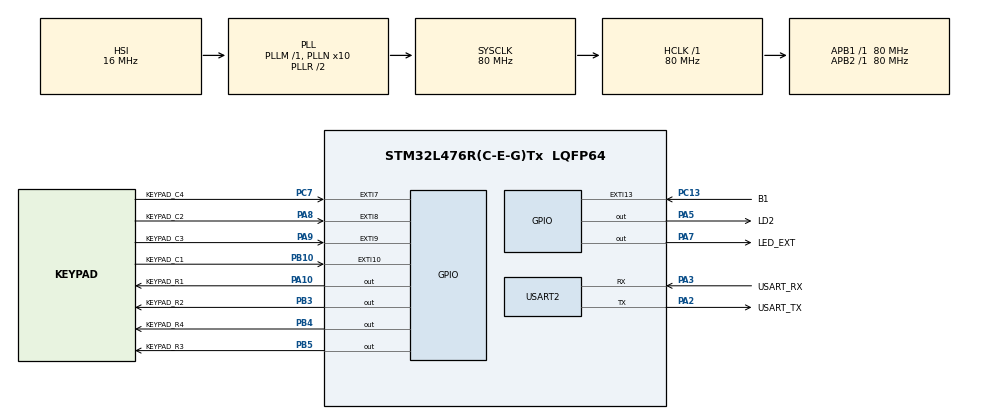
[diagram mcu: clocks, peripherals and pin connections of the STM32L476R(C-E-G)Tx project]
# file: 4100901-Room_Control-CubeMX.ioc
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Mcu.Family=STM32L4
Mcu.Name=STM32L476R(C-E-G)Tx
Mcu.Package=LQFP64
NVIC.EXTI15_10_IRQn=true\:0\:0\:false\:false\:true\:true\:true\:true
NVIC.EXTI9_5_IRQn=true\:0\:0\:false\:false\:true\:true\:true\:true
NVIC.PriorityGroup=NVIC_PRIORITYGROUP_4
NVIC.USART2_IRQn=true\:0\:0\:false\:false\:true\:true\:true\:true
PA10.GPIO_Label=KEYPAD_R1
PA10.Signal=GPIO_Output
PA13\ (JTMS-SWDIO).GPIO_Label=TMS
PA13\ (JTMS-SWDIO).Mode=Serial_Wire
PA13\ (JTMS-SWDIO).Signal=SYS_JTMS-SWDIO
PA14\ (JTCK-SWCLK).GPIO_Label=TCK
PA14\ (JTCK-SWCLK).Mode=Serial_Wire
PA14\ (JTCK-SWCLK).Signal=SYS_JTCK-SWCLK
PA2.GPIO_Label=USART_TX
PA2.GPIO_Mode=GPIO_MODE_AF_PP
PA2.GPIO_PuPd=GPIO_NOPULL
PA2.GPIO_Speed=GPIO_SPEED_FREQ_VERY_HIGH
PA2.Mode=Asynchronous
PA2.Signal=USART2_TX
PA3.GPIO_Label=USART_RX
PA3.GPIO_Mode=GPIO_MODE_AF_PP
PA3.GPIO_PuPd=GPIO_NOPULL
PA3.GPIO_Speed=GPIO_SPEED_FREQ_VERY_HIGH
PA3.Mode=Asynchronous
PA3.Signal=USART2_RX
PA5.GPIO_Label=LD2
PA5.GPIO_ModeDefaultOutputPP=GPIO_MODE_OUTPUT_PP
PA5.GPIO_PuPd=GPIO_NOPULL
PA5.GPIO_Speed=GPIO_SPEED_FREQ_LOW
PA5.Signal=GPIO_Output
PA7.GPIO_Label=LED_EXT
PA7.Signal=GPIO_Output
PA8.GPIO_Label=KEYPAD_C2
PA8.GPIO_ModeDefaultEXTI=GPIO_MODE_IT_FALLING
PA8.GPIO_PuPd=GPIO_PULLUP
PA8.Signal=GPXTI8
PA9.GPIO_Label=KEYPAD_C3
PA9.GPIO_ModeDefaultEXTI=GPIO_MODE_IT_FALLING
PA9.GPIO_PuPd=GPIO_PULLUP
PA9.Signal=GPXTI9
PB10.GPIO_Label=KEYPAD_C1
PB10.GPIO_ModeDefaultEXTI=GPIO_MODE_IT_FALLING
PB10.GPIO_PuPd=GPIO_PULLUP
PB10.Signal=GPXTI10
PB3\ (JTDO-TRACESWO).GPIO_Label=KEYPAD_R2
PB3\ (JTDO-TRACESWO).Signal=GPIO_Output
PB4\ (NJTRST).GPIO_Label=KEYPAD_R4
PB4\ (NJTRST).Signal=GPIO_Output
PB5.GPIO_Label=KEYPAD_R3
PB5.Signal=GPIO_Output
PC13.GPIO_Label=B1
PC13.GPIO_ModeDefaultEXTI=GPIO_MODE_IT_FALLING
PC13.GPIO_PuPd=GPIO_NOPULL
PC13.Signal=GPXTI13
PC14-OSC32_IN\ (PC14).Mode=LSE-External-Oscillator
PC14-OSC32_IN\ (PC14).Signal=RCC_OSC32_IN
PC15-OSC32_OUT\ (PC15).Mode=LSE-External-Oscillator
PC15-OSC32_OUT\ (PC15).Signal=RCC_OSC32_OUT
PC7.GPIO_Label=KEYPAD_C4
PC7.GPIO_ModeDefaultEXTI=GPIO_MODE_IT_FALLING
PC7.GPIO_PuPd=GPIO_PULLUP
PC7.Signal=GPXTI7
PH0-OSC_IN\ (PH0).Signal=RCC_OSC_IN
PH1-OSC_OUT\ (PH1).Signal=RCC_OSC_OUT
ProjectManager.HeapSize=0x200
ProjectManager.StackSize=0x400
ProjectManager.TargetToolchain=CMake
RCC.ADCFreq_Value=64000000
RCC.AHBFreq_Value=80000000
RCC.APB1Freq_Value=80000000
RCC.APB1TimFreq_Value=80000000
RCC.APB2Freq_Value=80000000
RCC.APB2TimFreq_Value=80000000
RCC.CortexFreq_Value=80000000
RCC.HCLKFreq_Value=80000000
RCC.HSE_VALUE=8000000
RCC.HSI_VALUE=16000000
RCC.MSI_VALUE=4000000
RCC.PLLN=10
RCC.PLLSourceVirtual=RCC_PLLSOURCE_HSI
RCC.PREFETCH_ENABLE=1
RCC.SYSCLKFreq_VALUE=80000000
RCC.SYSCLKSource=RCC_SYSCLKSOURCE_PLLCLK
RCC.USBFreq_Value=64000000
RCC.VCOOutputFreq_Value=160000000
USART2.VirtualMode-Asynchronous=VM_ASYNC
board=NUCLEO-L476RG

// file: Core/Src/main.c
/* USER CODE BEGIN Header */
/**
 **********
 * @file           : main.c
 * @brief          : Main program body
 **********
 * @attention
 *
 * Copyright (c) 2025 STMicroelectronics.
 * All rights reserved.
 *
 * This software is licensed under terms that can be found in the LICENSE file
 * in the root directory of this software component.
 * If no LICENSE file comes with this software, it is provided AS-IS.
 *
 **********
 */
/* USER CODE END Header */
#include "main.h"

/* USER CODE BEGIN Includes */
#include "led_driver.h"    // Librería para controlar el LED
#include "ring_buffer.h"   // Librería para manejar un buffer circular
#include "keypad_driver.h" // Librería del teclado matricial (4x4)
#include <stdio.h>         // Para usar printf() y enviar mensajes por UART
#include <string.h>        // Para comparar cadenas y limpiar variables
/* USER CODE END Includes */

/* USER CODE BEGIN PD */
// --- CONFIGURACION DEL SISTEMA ---
/* USER CODE END PD */
#define PASSWORD "123A"          // Contraseña de 4 dígitos que el usuario debe ingresar
#define PASSWORD_LEN 4           // Longitud de la contraseña
#define DEBOUNCE_TIME_MS 200     // Tiempo mínimo entre pulsaciones para evitar rebotes
#define SUCCESS_LED_TIME_MS 4000 // Tiempo que el LED permanece encendido al ingresar la contraseña correcta

UART_HandleTypeDef huart2; // Estructura que guarda toda la configuración y el estado del puerto UART2 (comunicación serial)

/* USER CODE BEGIN PV */
// --- HANDLES Y BUFFERS ---
led_handle_t led1 = {.port = GPIOA, .pin = GPIO_PIN_5}; // LED del usuario (LD2) en el pin PA5

// Estructura que define los pines usados por el teclado matricial 4x4

// --- CONFIGURACIÓN DE HARDWARE DEL TECLADO 4x4 ---
// Filas:
//   R1 → PA10 (GPIOA pin 10)
//   R2 → PB3  (GPIOB pin 3)
//   R3 → PB5  (GPIOB pin 5)
//   R4 → PB4  (GPIOB pin 4)
// Columnas:
//   C1 → PB10 (GPIOB pin 10) - Entrada con interrupción EXTI
//   C2 → PA8  (GPIOA pin 8)  - Entrada con interrupción EXTI
//   C3 → PA9  (GPIOA pin 9)  - Entrada con interrupción EXTI
//   C4 → PC7  (GPIOC pin 7)  - Entrada con interrupción EXTI

keypad_handle_t keypad = {
    .row_ports = {KEYPAD_R1_GPIO_Port, KEYPAD_R2_GPIO_Port, KEYPAD_R3_GPIO_Port, KEYPAD_R4_GPIO_Port},
    .row_pins = {KEYPAD_R1_Pin, KEYPAD_R2_Pin, KEYPAD_R3_Pin, KEYPAD_R4_Pin},
    .col_ports = {KEYPAD_C1_GPIO_Port, KEYPAD_C2_GPIO_Port, KEYPAD_C3_GPIO_Port, KEYPAD_C4_GPIO_Port},
    .col_pins = {KEYPAD_C1_Pin, KEYPAD_C2_Pin, KEYPAD_C3_Pin, KEYPAD_C4_Pin}};

// --- BUFFER CIRCULAR PARA TECLAS ---
#define KEYPAD_BUFFER_LEN 16              // Tamaño máximo del buffer de teclas
uint8_t keypad_buffer[KEYPAD_BUFFER_LEN]; // Arreglo donde se almacenan las teclas presionadas
ring_buffer_t keypad_rb;                  // Estructura de control del buffer circular

// --- VARIABLES DE CONTROL DE ACCESO ---
char entered_password[PASSWORD_LEN + 1] = {0}; // Arreglo para guardar los dígitos ingresados
uint8_t password_index = 0;                    // Índice que indica cuántos dígitos se han ingresado

// --- VARIABLES DE ESTADO PARA LÓGICA NO BLOQUEANTE ---
uint32_t last_key_press_time = 0; // Guarda el tiempo del último dígito leído (para evitar rebotes)
uint32_t led_timer_start = 0;     // Momento en el que el LED fue encendido
uint32_t led_on_duration = 0;     // Tiempo que el LED debe permanecer encendido
/* USER CODE END PV */

// --- Prototipos de funciones internas ---
void SystemClock_Config(void);         // Configura la frecuencia y el reloj principal del microcontrolador
static void MX_GPIO_Init(void);        // Configura los pines GPIO (entradas, salidas e interrupciones)
static void MX_USART2_UART_Init(void); // Inicializa la UART2 para comunicación serial

/* USER CODE BEGIN PFP */
// --- FUNCIONES PERSONALIZADAS ---
// void process_key(uint8_t key); // (No usada en este código) - sería para procesar teclas recibidas
void manage_led_timer(void); // Controla el tiempo de encendido del LED (sin bloquear el programa)
/* USER CODE END PFP */

/* USER CODE BEGIN 0 */
/**
 * @brief  Callback de la interrupción externa GPIO.
 * @note   Esta función se llama cuando se detecta un flanco en un pin configurado para interrupción.
 *         Se mantiene muy rápida: solo lee el teclado y guarda la tecla en un buffer.
 */
void HAL_GPIO_EXTI_Callback(uint16_t GPIO_Pin)
{
  char key = keypad_scan(&keypad, GPIO_Pin); // Escanea el teclado para identificar qué tecla se presionó
  if (key != '\0')                           // Si se detectó una tecla válida
  {
    ring_buffer_write(&keypad_rb, (uint8_t)key); // Guarda la tecla en el buffer circular
  }
}

/**
 * @brief Procesa una tecla recibida del buffer del keypad.
 * @note  Contiene la lógica principal de la aplicación: feedback visual,
 *        almacenamiento de la contraseña y verificación.
 * @param key La tecla presionada a procesar.
 */
void lectura_de_clave(uint8_t llave)
{
  // --- Almacenar dígito presionado ---
  if (password_index < PASSWORD_LEN) // Si aún no se ingresaron las 4 teclas
  {
    entered_password[password_index++] = (char)llave; // Guarda el carácter en el arreglo
    printf("Digito presionado: %c\r\n", llave);       // Muestra por UART la tecla presionada
  }

  // --- Verificar contraseña cuando se ingresan los 4 dígitos ---
  if (password_index == PASSWORD_LEN)
  {
    if (strncmp(entered_password, PASSWORD, PASSWORD_LEN) == 0) // Compara con la contraseña correcta
    {
      printf("Contraseña correcta. ACCESO AUTORIZADO.\r\n"); // Mensaje de éxito
      // Encender LED por éxito de contraseña
      led_on(&led1);                         // Enciende el LED
      led_timer_start = HAL_GetTick();       // Guarda el momento de encendido
      led_on_duration = SUCCESS_LED_TIME_MS; // Mantener encendido 4 segundos
    }
    else
    {
      printf("Contraseña incorrecta. ACCESO DENEGADO.\r\n"); // Mensaje de error
      led_off(&led1);                                        // Asegura que el LED quede apagado si la clave es incorrecta
    }

    // --- Reiniciar para una nueva entrada ---
    password_index = 0;                                    // Reinicia el contador
    memset(entered_password, 0, sizeof(entered_password)); // Limpia la clave ingresada
    printf("\nSistema de acceso listo. Ingrese la contraseña de 4 digitos.\r\n");
  }
}

/**
 * @brief Gestiona el apagado automático del LED sin bloquear el programa.
 * @note  Esta función debe ser llamada repetidamente en el bucle principal.
 */

void manage_led_timer(void)
{
  // Si el LED está encendido y ya pasó el tiempo programado
  if (led_timer_start != 0 && (HAL_GetTick() - led_timer_start > led_on_duration))
  {
    led_off(&led1);      // Apaga el LED
    led_timer_start = 0; // Reinicia el temporizador
  }
}

/* USER CODE END 0 */

int main(void)
{

  /* MCU Configuration--------------------------------------------------------*/

  /* Reset of all peripherals, Initializes the Flash interface and the Systick. */
  HAL_Init();

  /* Configure the system clock */
  SystemClock_Config();

  // Inicializa todos los periféricos configurados (GPIO, UART, etc.)
  MX_GPIO_Init();
  MX_USART2_UART_Init();

  /* USER CODE BEGIN 2 */
  // --- Inicialización de drivers personalizados ---
  led_init(&led1);                                                // Inicializa el LED conectado a PA5 (LD2)
  ring_buffer_init(&keypad_rb, keypad_buffer, KEYPAD_BUFFER_LEN); // Inicializa el buffer circular para almacenar teclas
  keypad_init(&keypad);                                           // Coloca todas las filas del teclado en bajo

  printf("Sistema de Control de Acceso Iniciado.\r\n"); // Mensaje inicial por UART
  printf("Ingrese la contraseña de 4 dígitos...\r\n");  // Solicitud al usuario
                                                        /* USER CODE END 2 */

  /* Infinite loop */
  /* USER CODE BEGIN WHILE */
  while (1) // --- Bucle principal del programa ---
  {
    uint8_t key_from_buffer; // Variable para guardar la tecla leída desde el buffer

    // --- Lectura no bloqueante del teclado ---
    if (ring_buffer_read(&keypad_rb, &key_from_buffer)) // Si hay una tecla disponible en el buffer
    {
      uint32_t now = HAL_GetTick(); // Obtiene el tiempo actual en milisegundos

      // --- Control de rebote por software ---
      if (now - last_key_press_time > DEBOUNCE_TIME_MS) // Si ha pasado suficiente tiempo desde la última tecla
      {
        last_key_press_time = now;         // Actualiza el tiempo de la última pulsación
        lectura_de_clave(key_from_buffer); // Procesa la tecla (guarda y valida contraseña)
      }
    }

    // --- Control del LED sin bloquear el programa ---
    manage_led_timer(); // Apaga el LED automáticamente cuando pasa el tiempo definido

    /* USER CODE END WHILE */

    /* USER CODE BEGIN 3 */
    // El bucle continúa ejecutándose indefinidamente
  }
  /* USER CODE END 3 */
}
/* ---------------------- FUNCIONES DE HARDWARE ---------------------- */

void SystemClock_Config(void)
{
  RCC_OscInitTypeDef RCC_OscInitStruct = {0};
  RCC_ClkInitTypeDef RCC_ClkInitStruct = {0};

  /** Configure the main internal regulator output voltage
   */
  if (HAL_PWREx_ControlVoltageScaling(PWR_REGULATOR_VOLTAGE_SCALE1) != HAL_OK)
  {
    Error_Handler();
  }

  /** Initializes the RCC Oscillators according to the specified parameters
   * in the RCC_OscInitTypeDef structure.
   */
  RCC_OscInitStruct.OscillatorType = RCC_OSCILLATORTYPE_HSI;
  RCC_OscInitStruct.HSIState = RCC_HSI_ON;
  RCC_OscInitStruct.HSICalibrationValue = RCC_HSICALIBRATION_DEFAULT;
  RCC_OscInitStruct.PLL.PLLState = RCC_PLL_ON;
  RCC_OscInitStruct.PLL.PLLSource = RCC_PLLSOURCE_HSI;
  RCC_OscInitStruct.PLL.PLLM = 1;
  RCC_OscInitStruct.PLL.PLLN = 10;
  RCC_OscInitStruct.PLL.PLLP = RCC_PLLP_DIV7;
  RCC_OscInitStruct.PLL.PLLQ = RCC_PLLQ_DIV2;
  RCC_OscInitStruct.PLL.PLLR = RCC_PLLR_DIV2;
  if (HAL_RCC_OscConfig(&RCC_OscInitStruct) != HAL_OK)
  {
    Error_Handler();
  }

  /** Initializes the CPU, AHB and APB buses clocks
   */
  RCC_ClkInitStruct.ClockType = RCC_CLOCKTYPE_HCLK | RCC_CLOCKTYPE_SYSCLK | RCC_CLOCKTYPE_PCLK1 | RCC_CLOCKTYPE_PCLK2;
  RCC_ClkInitStruct.SYSCLKSource = RCC_SYSCLKSOURCE_PLLCLK;
  RCC_ClkInitStruct.AHBCLKDivider = RCC_SYSCLK_DIV1;
  RCC_ClkInitStruct.APB1CLKDivider = RCC_HCLK_DIV1;
  RCC_ClkInitStruct.APB2CLKDivider = RCC_HCLK_DIV1;

  if (HAL_RCC_ClockConfig(&RCC_ClkInitStruct, FLASH_LATENCY_4) != HAL_OK)
  {
    Error_Handler();
  }
}

static void MX_USART2_UART_Init(void)
{

  huart2.Instance = USART2;
  huart2.Init.BaudRate = 115200;
  huart2.Init.WordLength = UART_WORDLENGTH_8B;
  huart2.Init.StopBits = UART_STOPBITS_1;
  huart2.Init.Parity = UART_PARITY_NONE;
  huart2.Init.Mode = UART_MODE_TX_RX;
  huart2.Init.HwFlowCtl = UART_HWCONTROL_NONE;
  huart2.Init.OverSampling = UART_OVERSAMPLING_16;
  huart2.Init.OneBitSampling = UART_ONE_BIT_SAMPLE_DISABLE;
  huart2.AdvancedInit.AdvFeatureInit = UART_ADVFEATURE_NO_INIT;
  if (HAL_UART_Init(&huart2) != HAL_OK)
  {
    Error_Handler();
  }
/* USER CODE BEGIN USART2_Init 2 */
#ifdef GNUC
  setvbuf(stdout, NULL, _IONBF, 0);
#endif
  /* USER CODE END USART2_Init 2 */
}

static void MX_GPIO_Init(void)
{
  GPIO_InitTypeDef GPIO_InitStruct = {0};

  /* GPIO Ports Clock Enable */
  __HAL_RCC_GPIOC_CLK_ENABLE();
  __HAL_RCC_GPIOH_CLK_ENABLE();
  __HAL_RCC_GPIOA_CLK_ENABLE();
  __HAL_RCC_GPIOB_CLK_ENABLE();

  /*Configure GPIO pin Output Level */
  HAL_GPIO_WritePin(GPIOA, LD2_Pin | KEYPAD_R1_Pin, GPIO_PIN_RESET);

  /*Configure GPIO pin Output Level */
  HAL_GPIO_WritePin(GPIOB, KEYPAD_R2_Pin | KEYPAD_R4_Pin | KEYPAD_R3_Pin, GPIO_PIN_RESET);

  /*Configure GPIO pin : B1_Pin */
  GPIO_InitStruct.Pin = B1_Pin;
  GPIO_InitStruct.Mode = GPIO_MODE_IT_FALLING;
  GPIO_InitStruct.Pull = GPIO_NOPULL;
  HAL_GPIO_Init(B1_GPIO_Port, &GPIO_InitStruct);

  /*Configure GPIO pins : LD2_Pin KEYPAD_R1_Pin */
  GPIO_InitStruct.Pin = LD2_Pin | KEYPAD_R1_Pin;
  GPIO_InitStruct.Mode = GPIO_MODE_OUTPUT_PP;
  GPIO_InitStruct.Pull = GPIO_NOPULL;
  GPIO_InitStruct.Speed = GPIO_SPEED_FREQ_LOW;
  HAL_GPIO_Init(GPIOA, &GPIO_InitStruct);

  /*Configure GPIO pin : KEYPAD_C1_Pin */
  GPIO_InitStruct.Pin = KEYPAD_C1_Pin;
  GPIO_InitStruct.Mode = GPIO_MODE_IT_FALLING;
  GPIO_InitStruct.Pull = GPIO_PULLUP;
  HAL_GPIO_Init(KEYPAD_C1_GPIO_Port, &GPIO_InitStruct);

  /*Configure GPIO pin : KEYPAD_C4_Pin */
  GPIO_InitStruct.Pin = KEYPAD_C4_Pin;
  GPIO_InitStruct.Mode = GPIO_MODE_IT_FALLING;
  GPIO_InitStruct.Pull = GPIO_PULLUP;
  HAL_GPIO_Init(KEYPAD_C4_GPIO_Port, &GPIO_InitStruct);

  /*Configure GPIO pins : KEYPAD_C2_Pin KEYPAD_C3_Pin */
  GPIO_InitStruct.Pin = KEYPAD_C2_Pin | KEYPAD_C3_Pin;
  GPIO_InitStruct.Mode = GPIO_MODE_IT_FALLING;
  GPIO_InitStruct.Pull = GPIO_PULLUP;
  HAL_GPIO_Init(GPIOA, &GPIO_InitStruct);

  /*Configure GPIO pins : KEYPAD_R2_Pin KEYPAD_R4_Pin KEYPAD_R3_Pin */
  GPIO_InitStruct.Pin = KEYPAD_R2_Pin | KEYPAD_R4_Pin | KEYPAD_R3_Pin;
  GPIO_InitStruct.Mode = GPIO_MODE_OUTPUT_PP;
  GPIO_InitStruct.Pull = GPIO_NOPULL;
  GPIO_InitStruct.Speed = GPIO_SPEED_FREQ_LOW;
  HAL_GPIO_Init(GPIOB, &GPIO_InitStruct);

  /* EXTI interrupt init*/
  /* MODIFICADO: Se cambia la prioridad de 0 (máxima) a 5 (media-baja).
   * Un valor numérico más bajo significa una prioridad más alta en ARM Cortex-M.
   * Usar prioridad 0 es arriesgado, ya que puede bloquear interrupciones del sistema.
   * Una prioridad de 5 es segura para periféricos de usuario como un teclado.
   */
  HAL_NVIC_SetPriority(EXTI9_5_IRQn, 5, 0);
  HAL_NVIC_EnableIRQ(EXTI9_5_IRQn);

  HAL_NVIC_SetPriority(EXTI15_10_IRQn, 5, 0);
  HAL_NVIC_EnableIRQ(EXTI15_10_IRQn);

}

/* USER CODE BEGIN 4 */
// Sobrescribir la función _write para redirigir printf a la UART
int _write(int file, char *ptr, int len)
{
  HAL_UART_Transmit(&huart2, (uint8_t *)ptr, len, HAL_MAX_DELAY);
  return len;
}
/* USER CODE END 4 */

void Error_Handler(void)
{
  __disable_irq();
  while (1)
  {
  }
}
